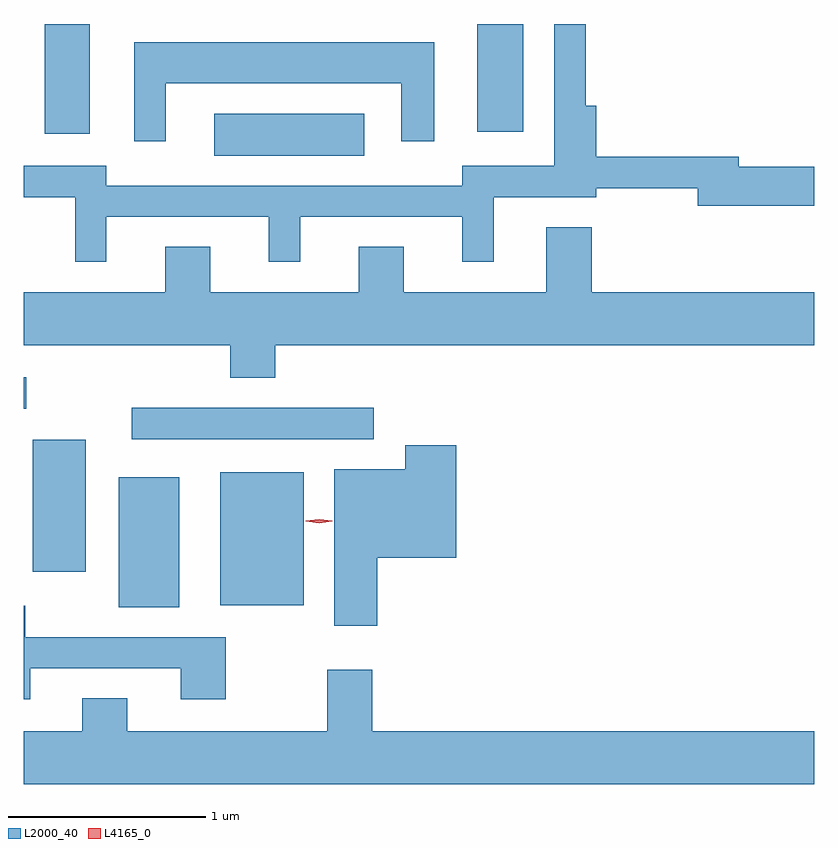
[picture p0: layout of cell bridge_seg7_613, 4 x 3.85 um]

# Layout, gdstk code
import gdstk
lib = gdstk.Library(unit=1e-6, precision=1e-09)
def R(c, l, rs):  # rectangles x0, y0, x1, y1
    for r in rs: c.add(gdstk.rectangle(r[:2], r[2:], *l))
def P(c, l, *ps):  # polygons
    for p in ps: c.add(gdstk.Polygon(p, *l))
L2000_40 = (2000, 40)
L4165_0 = (4165, 0)

bridge_seg7_613 = lib.new_cell('bridge_seg7_613')
R(bridge_seg7_613, L2000_40, [(750.316,1715.211,750.624,1715.869), (750.831,1715.221,751.254,1715.894), (749.881,1715.391,750.149,1716.059), (750.383,1716.061,751.608,1716.219), (749.836,1716.216,749.848,1716.374), (750.801,1717.496,751.559,1717.709), (749.941,1717.606,750.169,1718.162), (752.131,1717.616,752.364,1718.162)])
P(bridge_seg7_613, L2000_40, [(750.254,1717.186),(751.076,1717.186),(751.076,1716.958),(751.234,1716.958),(751.234,1717.186),(752.056,1717.186),(752.056,1716.958),(752.214,1716.958),(752.214,1717.286),(752.734,1717.286),(752.734,1717.331),(753.246,1717.331),(753.246,1717.241),(753.836,1717.241),(753.836,1717.439),(753.454,1717.439),(753.454,1717.489),(752.734,1717.489),(752.734,1717.749),(752.679,1717.749),(752.679,1718.162),(752.521,1718.162),(752.521,1717.444),(752.056,1717.444),(752.056,1717.344),(750.254,1717.344),(750.254,1717.444),(749.836,1717.444),(749.836,1717.286),(750.096,1717.286),(750.096,1716.958),(750.254,1716.958)],
  [(750.554,1717.861),(751.746,1717.861),(751.746,1717.568),(751.914,1717.568),(751.914,1718.069),(750.396,1718.069),(750.396,1717.568),(750.554,1717.568)],
  [(751.109,1716.536),(753.836,1716.536),(753.836,1716.804),(752.709,1716.804),(752.709,1717.134),(752.481,1717.134),(752.481,1716.804),(751.759,1716.804),(751.759,1717.034),(751.531,1717.034),(751.531,1716.804),(750.779,1716.804),(750.779,1717.034),(750.551,1717.034),(750.551,1716.804),(749.836,1716.804),(749.836,1716.536),(750.881,1716.536),(750.881,1716.371),(751.109,1716.371)],
  [(751.624,1715.461),(752.024,1715.461),(752.024,1716.029),(751.766,1716.029),(751.766,1715.909),(751.406,1715.909),(751.406,1715.116),(751.624,1715.116)],
  [(749.869,1714.901),(750.631,1714.901),(750.631,1714.746),(750.859,1714.746),(750.859,1715.059),(749.844,1715.059),(749.844,1715.219),(749.836,1715.219),(749.836,1714.746),(749.869,1714.746)],
  [(753.836,1714.584),(751.599,1714.584),(751.599,1714.894),(751.371,1714.894),(751.371,1714.584),(750.359,1714.584),(750.359,1714.749),(750.131,1714.749),(750.131,1714.584),(749.836,1714.584),(749.836,1714.316),(753.836,1714.316)])
P(bridge_seg7_613, L4165_0, [(751.33,1715.636),(751.264,1715.646),(751.263,1715.646),(751.264,1715.647),(751.33,1715.656),(751.396,1715.647),(751.397,1715.646),(751.396,1715.646)])

lib.write_gds('bridge_seg7_613.gds')
